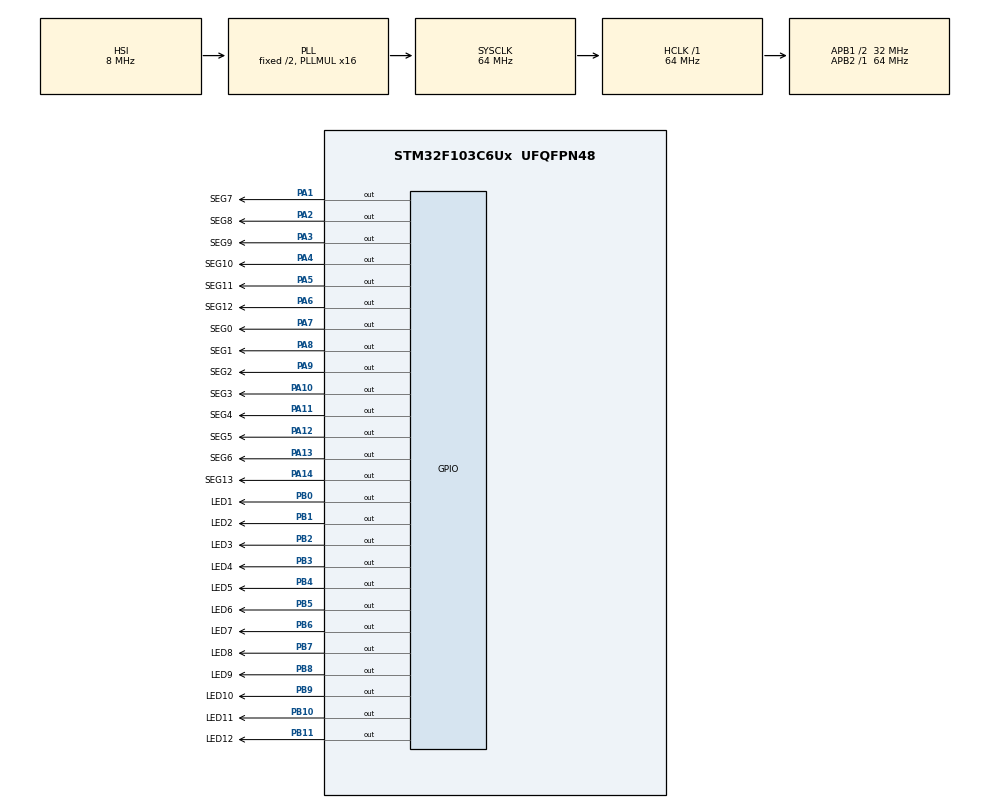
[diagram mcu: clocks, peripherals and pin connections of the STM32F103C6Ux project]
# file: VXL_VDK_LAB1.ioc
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Mcu.Family=STM32F1
Mcu.Name=STM32F103C6Ux
Mcu.Package=UFQFPN48
NVIC.PriorityGroup=NVIC_PRIORITYGROUP_4
PA1.GPIO_Label=SEG7
PA1.Signal=GPIO_Output
PA10.GPIO_Label=SEG3
PA10.Signal=GPIO_Output
PA11.GPIO_Label=SEG4
PA11.Signal=GPIO_Output
PA12.GPIO_Label=SEG5
PA12.Signal=GPIO_Output
PA13.GPIO_Label=SEG6
PA13.Signal=GPIO_Output
PA14.GPIO_Label=SEG13
PA14.Signal=GPIO_Output
PA2.GPIO_Label=SEG8
PA2.Signal=GPIO_Output
PA3.GPIO_Label=SEG9
PA3.Signal=GPIO_Output
PA4.GPIO_Label=SEG10
PA4.Signal=GPIO_Output
PA5.GPIO_Label=SEG11
PA5.Signal=GPIO_Output
PA6.GPIO_Label=SEG12
PA6.Signal=GPIO_Output
PA7.GPIO_Label=SEG0
PA7.Signal=GPIO_Output
PA8.GPIO_Label=SEG1
PA8.Signal=GPIO_Output
PA9.GPIO_Label=SEG2
PA9.Signal=GPIO_Output
PB0.GPIO_Label=LED1
PB0.Signal=GPIO_Output
PB1.GPIO_Label=LED2
PB1.Signal=GPIO_Output
PB10.GPIO_Label=LED11
PB10.Signal=GPIO_Output
PB11.GPIO_Label=LED12
PB11.Signal=GPIO_Output
PB2.GPIO_Label=LED3
PB2.Signal=GPIO_Output
PB3.GPIO_Label=LED4
PB3.Signal=GPIO_Output
PB4.GPIO_Label=LED5
PB4.Signal=GPIO_Output
PB5.GPIO_Label=LED6
PB5.Signal=GPIO_Output
PB6.GPIO_Label=LED7
PB6.Signal=GPIO_Output
PB7.GPIO_Label=LED8
PB7.Signal=GPIO_Output
PB8.GPIO_Label=LED9
PB8.Signal=GPIO_Output
PB9.GPIO_Label=LED10
PB9.Signal=GPIO_Output
ProjectManager.HeapSize=0x200
ProjectManager.StackSize=0x400
ProjectManager.TargetToolchain=STM32CubeIDE
RCC.AHBFreq_Value=64000000
RCC.APB1CLKDivider=RCC_HCLK_DIV2
RCC.APB1Freq_Value=32000000
RCC.APB1TimFreq_Value=64000000
RCC.APB2Freq_Value=64000000
RCC.APB2TimFreq_Value=64000000
RCC.HCLKFreq_Value=64000000
RCC.PLLMUL=RCC_PLL_MUL16
RCC.SYSCLKFreq_VALUE=64000000
RCC.SYSCLKSource=RCC_SYSCLKSOURCE_PLLCLK
RCC.USBFreq_Value=64000000
VP_SYS_VS_ND.Mode=No_Debug
board=custom

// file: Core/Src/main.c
/* USER CODE BEGIN Header */
/**
  ******************************************************************************
  * @file           : main.c
  * @brief          : Main program body
  ******************************************************************************
  * @attention
  *
  * <h2><center>&copy; Copyright (c) 2024 STMicroelectronics.
  * All rights reserved.</center></h2>
  *
  * This software component is licensed by ST under BSD 3-Clause license,
  * the "License"; You may not use this file except in compliance with the
  * License. You may obtain a copy of the License at:
  *                        opensource.org/licenses/BSD-3-Clause
  *
  ******************************************************************************
  */
/* USER CODE END Header */
#include "main.h"

void SystemClock_Config(void);
static void MX_GPIO_Init(void);

/* USER CODE BEGIN 0 */
void clearAllClock(){
	HAL_GPIO_WritePin(LED1_GPIO_Port, LED1_Pin, 0);
	HAL_GPIO_WritePin(LED2_GPIO_Port, LED2_Pin, 0);
	HAL_GPIO_WritePin(LED3_GPIO_Port, LED3_Pin, 0);
	HAL_GPIO_WritePin(LED4_GPIO_Port, LED4_Pin, 0);
	HAL_GPIO_WritePin(LED5_GPIO_Port, LED5_Pin, 0);
	HAL_GPIO_WritePin(LED6_GPIO_Port, LED6_Pin, 0);
	HAL_GPIO_WritePin(LED7_GPIO_Port, LED7_Pin, 0);
	HAL_GPIO_WritePin(LED8_GPIO_Port, LED8_Pin, 0);
	HAL_GPIO_WritePin(LED9_GPIO_Port, LED9_Pin, 0);
	HAL_GPIO_WritePin(LED10_GPIO_Port, LED10_Pin, 0);
	HAL_GPIO_WritePin(LED11_GPIO_Port, LED11_Pin, 0);
	HAL_GPIO_WritePin(LED12_GPIO_Port, LED12_Pin, 0);
}
void clearNumberOnClock(int num){
	int count = num % 12;
	switch(count){
		case 1:
			HAL_GPIO_WritePin(LED1_GPIO_Port, LED1_Pin, 0);
			break;
		case 2:
			HAL_GPIO_WritePin(LED2_GPIO_Port, LED2_Pin, 0);
			break;
		case 3:
			HAL_GPIO_WritePin(LED3_GPIO_Port, LED3_Pin, 0);
			break;
		case 4:
			HAL_GPIO_WritePin(LED4_GPIO_Port, LED4_Pin, 0);
			break;
		case 5:
			HAL_GPIO_WritePin(LED5_GPIO_Port, LED5_Pin, 0);
			break;
		case 6:
			HAL_GPIO_WritePin(LED6_GPIO_Port, LED6_Pin, 0);
			break;
		case 7:
			HAL_GPIO_WritePin(LED7_GPIO_Port, LED7_Pin, 0);
			break;
		case 8:
			HAL_GPIO_WritePin(LED8_GPIO_Port, LED8_Pin, 0);
			break;
		case 9:
			HAL_GPIO_WritePin(LED9_GPIO_Port, LED9_Pin, 0);
			break;
		case 10:
			HAL_GPIO_WritePin(LED10_GPIO_Port, LED10_Pin, 0);
			break;
		case 11:
			HAL_GPIO_WritePin(LED11_GPIO_Port, LED11_Pin, 0);
			break;
		case 12:
			HAL_GPIO_WritePin(LED12_GPIO_Port, LED12_Pin, 0);
			break;
		default:
			HAL_GPIO_WritePin(LED12_GPIO_Port, LED12_Pin, 0);
			break;
		}
}
void setNumberOnClock(int num){
	//clearAllClock();
	int count = num % 12;
	switch(count){
	case 1:
		HAL_GPIO_WritePin(LED1_GPIO_Port, LED1_Pin, 1);
		break;
	case 2:
		HAL_GPIO_WritePin(LED2_GPIO_Port, LED2_Pin, 1);
		break;
	case 3:
		HAL_GPIO_WritePin(LED3_GPIO_Port, LED3_Pin, 1);
		break;
	case 4:
		HAL_GPIO_WritePin(LED4_GPIO_Port, LED4_Pin, 1);
		break;
	case 5:
		HAL_GPIO_WritePin(LED5_GPIO_Port, LED5_Pin, 1);
		break;
	case 6:
		HAL_GPIO_WritePin(LED6_GPIO_Port, LED6_Pin, 1);
		break;
	case 7:
		HAL_GPIO_WritePin(LED7_GPIO_Port, LED7_Pin, 1);
		break;
	case 8:
		HAL_GPIO_WritePin(LED8_GPIO_Port, LED8_Pin, 1);
		break;
	case 9:
		HAL_GPIO_WritePin(LED9_GPIO_Port, LED9_Pin, 1);
		break;
	case 10:
		HAL_GPIO_WritePin(LED10_GPIO_Port, LED10_Pin, 1);
		break;
	case 11:
		HAL_GPIO_WritePin(LED11_GPIO_Port, LED11_Pin, 1);
		break;
	case 12:
		HAL_GPIO_WritePin(LED12_GPIO_Port, LED12_Pin, 1);
		break;
	default:
		HAL_GPIO_WritePin(LED12_GPIO_Port, LED12_Pin, 1);
		break;
	}
}
/* USER CODE END 0 */

int main(void)
{

  /* MCU Configuration--------------------------------------------------------*/

  /* Reset of all peripherals, Initializes the Flash interface and the Systick. */
  HAL_Init();

  /* Configure the system clock */
  SystemClock_Config();

  /* Initialize all configured peripherals */
  MX_GPIO_Init();

  /* Infinite loop */
  /* USER CODE BEGIN WHILE */
  int hour = 0;
   int min = 0;
   int sec = 0;
   clearAllClock();
   while (1)
   {
 	  clearNumberOnClock(sec);
 	  clearNumberOnClock(min);
 	  clearNumberOnClock(hour);
 	  sec++;
 	  if(sec >= 60){
 		  sec = 0;
 		  min++;
 	  }
 	  if(min >= 60){
 		  min = 0;
 		  hour++;
 	  }
 	  if(hour >= 12){
 		  hour = 0;
 		  //clearAllClock();
 	  }
 	  setNumberOnClock(sec);
 	  setNumberOnClock(min);
 	  setNumberOnClock(hour);

 	  HAL_Delay(1000);
     /* USER CODE END WHILE */

     /* USER CODE BEGIN 3 */
   }
}
void SystemClock_Config(void)
{
  RCC_OscInitTypeDef RCC_OscInitStruct = {0};
  RCC_ClkInitTypeDef RCC_ClkInitStruct = {0};

  /** Initializes the RCC Oscillators according to the specified parameters
  * in the RCC_OscInitTypeDef structure.
  */
  RCC_OscInitStruct.OscillatorType = RCC_OSCILLATORTYPE_HSI;
  RCC_OscInitStruct.HSIState = RCC_HSI_ON;
  RCC_OscInitStruct.HSICalibrationValue = RCC_HSICALIBRATION_DEFAULT;
  RCC_OscInitStruct.PLL.PLLState = RCC_PLL_ON;
  RCC_OscInitStruct.PLL.PLLSource = RCC_PLLSOURCE_HSI_DIV2;
  RCC_OscInitStruct.PLL.PLLMUL = RCC_PLL_MUL16;
  if (HAL_RCC_OscConfig(&RCC_OscInitStruct) != HAL_OK)
  {
    Error_Handler();
  }
  /** Initializes the CPU, AHB and APB buses clocks
  */
  RCC_ClkInitStruct.ClockType = RCC_CLOCKTYPE_HCLK|RCC_CLOCKTYPE_SYSCLK
                              |RCC_CLOCKTYPE_PCLK1|RCC_CLOCKTYPE_PCLK2;
  RCC_ClkInitStruct.SYSCLKSource = RCC_SYSCLKSOURCE_PLLCLK;
  RCC_ClkInitStruct.AHBCLKDivider = RCC_SYSCLK_DIV1;
  RCC_ClkInitStruct.APB1CLKDivider = RCC_HCLK_DIV2;
  RCC_ClkInitStruct.APB2CLKDivider = RCC_HCLK_DIV1;

  if (HAL_RCC_ClockConfig(&RCC_ClkInitStruct, FLASH_LATENCY_2) != HAL_OK)
  {
    Error_Handler();
  }
}

static void MX_GPIO_Init(void)
{
  GPIO_InitTypeDef GPIO_InitStruct = {0};

  /* GPIO Ports Clock Enable */
  __HAL_RCC_GPIOA_CLK_ENABLE();
  __HAL_RCC_GPIOB_CLK_ENABLE();

  /*Configure GPIO pin Output Level */
  HAL_GPIO_WritePin(GPIOA, SEG7_Pin|SEG8_Pin|SEG9_Pin|SEG10_Pin
                          |SEG11_Pin|SEG12_Pin|SEG0_Pin|SEG1_Pin
                          |SEG2_Pin|SEG3_Pin|SEG4_Pin|SEG5_Pin
                          |SEG6_Pin|SEG13_Pin, GPIO_PIN_RESET);

  /*Configure GPIO pin Output Level */
  HAL_GPIO_WritePin(GPIOB, LED1_Pin|LED2_Pin|LED3_Pin|LED11_Pin
                          |LED12_Pin|LED4_Pin|LED5_Pin|LED6_Pin
                          |LED7_Pin|LED8_Pin|LED9_Pin|LED10_Pin, GPIO_PIN_RESET);

  /*Configure GPIO pins : SEG7_Pin SEG8_Pin SEG9_Pin SEG10_Pin
                           SEG11_Pin SEG12_Pin SEG0_Pin SEG1_Pin
                           SEG2_Pin SEG3_Pin SEG4_Pin SEG5_Pin
                           SEG6_Pin SEG13_Pin */
  GPIO_InitStruct.Pin = SEG7_Pin|SEG8_Pin|SEG9_Pin|SEG10_Pin
                          |SEG11_Pin|SEG12_Pin|SEG0_Pin|SEG1_Pin
                          |SEG2_Pin|SEG3_Pin|SEG4_Pin|SEG5_Pin
                          |SEG6_Pin|SEG13_Pin;
  GPIO_InitStruct.Mode = GPIO_MODE_OUTPUT_PP;
  GPIO_InitStruct.Pull = GPIO_NOPULL;
  GPIO_InitStruct.Speed = GPIO_SPEED_FREQ_LOW;
  HAL_GPIO_Init(GPIOA, &GPIO_InitStruct);

  /*Configure GPIO pins : LED1_Pin LED2_Pin LED3_Pin LED11_Pin
                           LED12_Pin LED4_Pin LED5_Pin LED6_Pin
                           LED7_Pin LED8_Pin LED9_Pin LED10_Pin */
  GPIO_InitStruct.Pin = LED1_Pin|LED2_Pin|LED3_Pin|LED11_Pin
                          |LED12_Pin|LED4_Pin|LED5_Pin|LED6_Pin
                          |LED7_Pin|LED8_Pin|LED9_Pin|LED10_Pin;
  GPIO_InitStruct.Mode = GPIO_MODE_OUTPUT_PP;
  GPIO_InitStruct.Pull = GPIO_NOPULL;
  GPIO_InitStruct.Speed = GPIO_SPEED_FREQ_LOW;
  HAL_GPIO_Init(GPIOB, &GPIO_InitStruct);

}

void Error_Handler(void)
{
  __disable_irq();
  while (1)
  {
  }
}

/************************ (C) COPYRIGHT STMicroelectronics *****END OF FILE****/
